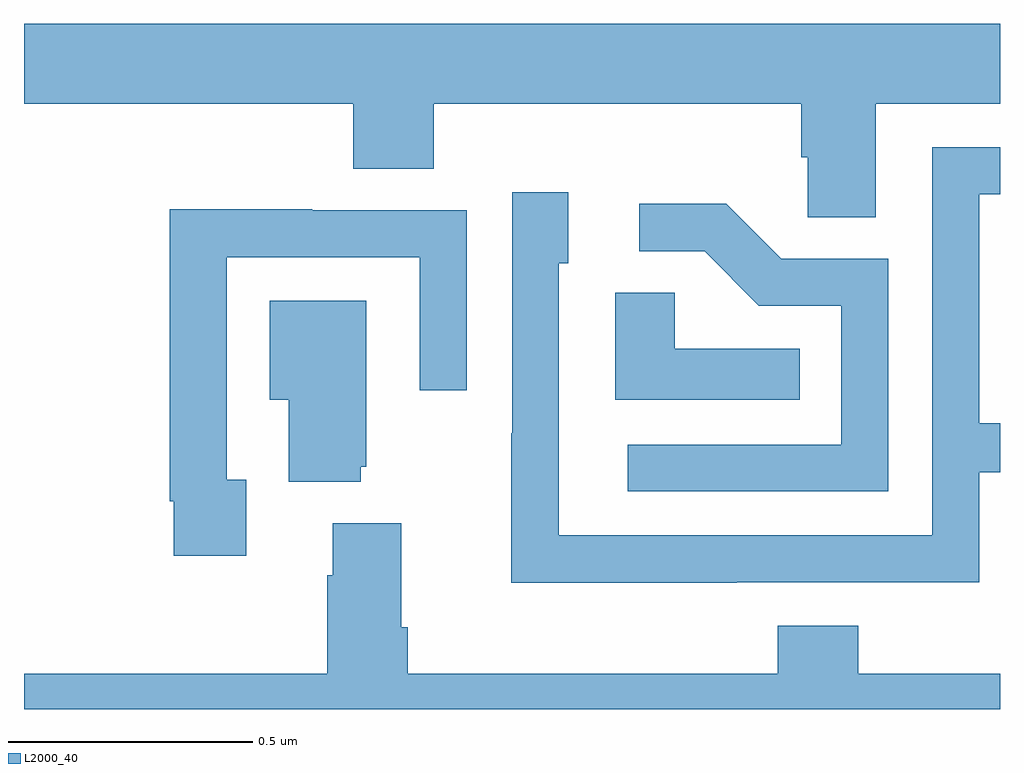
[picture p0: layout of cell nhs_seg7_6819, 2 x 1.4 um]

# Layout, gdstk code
import gdstk
lib = gdstk.Library(unit=1e-6, precision=1e-09)
def P(c, l, *ps):  # polygons
    for p in ps: c.add(gdstk.Polygon(p, *l))
L2000_40 = (2000, 40)

nhs_seg7_6819 = lib.new_cell('nhs_seg7_6819')
P(nhs_seg7_6819, L2000_40, [(204.745,1043.24),(205,1043.24),(205,1043.404),(203,1043.404),(203,1043.24),(203.675,1043.24),(203.675,1043.107),(203.84,1043.107),(203.84,1043.24),(204.593,1043.24),(204.593,1043.131),(204.606,1043.131),(204.606,1043.008),(204.745,1043.008)],
  [(204.461,1042.26),(204.957,1042.26),(204.957,1042.485),(205,1042.485),(205,1042.586),(204.957,1042.586),(204.957,1043.055),(205,1043.055),(205,1043.151),(204.861,1043.151),(204.861,1042.356),(204.096,1042.356),(204.096,1042.914),(204.115,1042.914),(204.115,1043.059),(204,1043.059),(204,1042.565),(203.998,1042.565),(203.998,1042.259),(204.461,1042.259)],
  [(204.771,1042.923),(204.552,1042.923),(204.439,1043.036),(204.261,1043.036),(204.261,1042.938),(204.395,1042.938),(204.506,1042.827),(204.675,1042.827),(204.675,1042.542),(204.237,1042.542),(204.237,1042.446),(204.771,1042.446)],
  [(203.455,1042.47),(203.415,1042.47),(203.415,1042.926),(203.811,1042.926),(203.811,1042.653),(203.907,1042.653),(203.907,1043.022),(203.591,1043.022),(203.591,1043.024),(203.299,1043.024),(203.299,1042.426),(203.307,1042.426),(203.307,1042.314),(203.455,1042.314)],
  [(204.59,1042.738),(204.333,1042.738),(204.333,1042.853),(204.212,1042.853),(204.212,1042.634),(204.59,1042.634)],
  [(203.69,1042.497),(203.701,1042.497),(203.701,1042.837),(203.504,1042.837),(203.504,1042.634),(203.543,1042.634),(203.543,1042.466),(203.69,1042.466)],
  [(205,1042.072),(204.71,1042.072),(204.71,1042.171),(204.545,1042.171),(204.545,1042.072),(203.786,1042.072),(203.786,1042.168),(203.773,1042.168),(203.773,1042.381),(203.633,1042.381),(203.633,1042.274),(203.621,1042.274),(203.621,1042.072),(203,1042.072),(203,1042),(205,1042)])

lib.write_gds('nhs_seg7_6819.gds')
